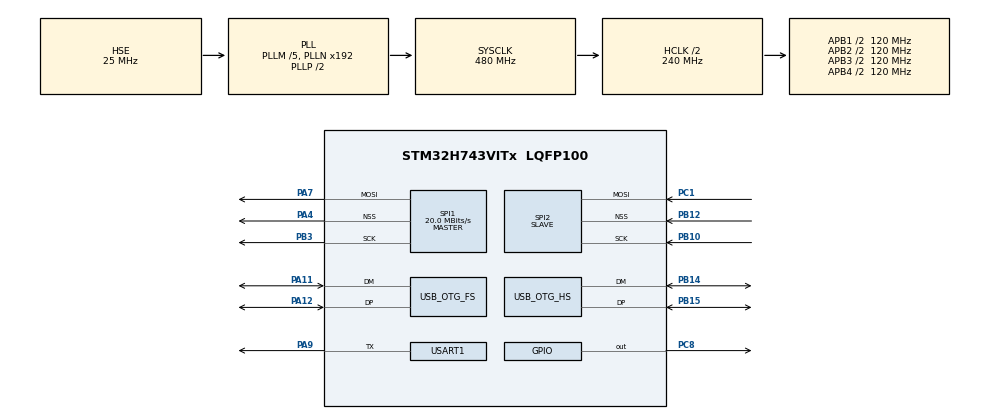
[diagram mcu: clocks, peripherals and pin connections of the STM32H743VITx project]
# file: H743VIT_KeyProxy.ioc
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CORTEX_M7.CPU_ICache=Enabled
CORTEX_M7.default_mode_Activation=0
Dma.Request0=SPI1_TX
Dma.Request1=SPI2_RX
Dma.SPI1_TX.0.Direction=DMA_MEMORY_TO_PERIPH
Dma.SPI1_TX.0.EventEnable=DISABLE
Dma.SPI1_TX.0.FIFOMode=DMA_FIFOMODE_DISABLE
Dma.SPI1_TX.0.Instance=DMA1_Stream0
Dma.SPI1_TX.0.MemDataAlignment=DMA_MDATAALIGN_BYTE
Dma.SPI1_TX.0.MemInc=DMA_MINC_ENABLE
Dma.SPI1_TX.0.Mode=DMA_NORMAL
Dma.SPI1_TX.0.PeriphDataAlignment=DMA_PDATAALIGN_BYTE
Dma.SPI1_TX.0.PeriphInc=DMA_PINC_DISABLE
Dma.SPI1_TX.0.Polarity=HAL_DMAMUX_REQ_GEN_RISING
Dma.SPI1_TX.0.Priority=DMA_PRIORITY_LOW
Dma.SPI1_TX.0.RequestNumber=1
Dma.SPI1_TX.0.SignalID=NONE
Dma.SPI1_TX.0.SyncEnable=DISABLE
Dma.SPI1_TX.0.SyncPolarity=HAL_DMAMUX_SYNC_NO_EVENT
Dma.SPI1_TX.0.SyncRequestNumber=1
Dma.SPI1_TX.0.SyncSignalID=NONE
Dma.SPI2_RX.1.Direction=DMA_PERIPH_TO_MEMORY
Dma.SPI2_RX.1.EventEnable=DISABLE
Dma.SPI2_RX.1.FIFOMode=DMA_FIFOMODE_DISABLE
Dma.SPI2_RX.1.Instance=DMA1_Stream1
Dma.SPI2_RX.1.MemDataAlignment=DMA_MDATAALIGN_BYTE
Dma.SPI2_RX.1.MemInc=DMA_MINC_ENABLE
Dma.SPI2_RX.1.Mode=DMA_NORMAL
Dma.SPI2_RX.1.PeriphDataAlignment=DMA_PDATAALIGN_BYTE
Dma.SPI2_RX.1.PeriphInc=DMA_PINC_DISABLE
Dma.SPI2_RX.1.Polarity=HAL_DMAMUX_REQ_GEN_RISING
Dma.SPI2_RX.1.Priority=DMA_PRIORITY_LOW
Dma.SPI2_RX.1.RequestNumber=1
Dma.SPI2_RX.1.SignalID=NONE
Dma.SPI2_RX.1.SyncEnable=DISABLE
Dma.SPI2_RX.1.SyncPolarity=HAL_DMAMUX_SYNC_NO_EVENT
Dma.SPI2_RX.1.SyncRequestNumber=1
Dma.SPI2_RX.1.SyncSignalID=NONE
Mcu.Family=STM32H7
Mcu.Name=STM32H743VITx
Mcu.Package=LQFP100
NVIC.DMA1_Stream0_IRQn=true\:0\:0\:false\:false\:true\:false\:true\:true
NVIC.DMA1_Stream1_IRQn=true\:0\:0\:false\:false\:true\:false\:true\:true
NVIC.OTG_FS_IRQn=true\:0\:0\:false\:false\:true\:false\:true\:true
NVIC.OTG_HS_IRQn=true\:0\:0\:false\:false\:true\:true\:true\:true
NVIC.PriorityGroup=NVIC_PRIORITYGROUP_4
NVIC.SPI1_IRQn=true\:0\:0\:false\:false\:true\:true\:true\:true
NVIC.SPI2_IRQn=true\:0\:0\:false\:false\:true\:true\:true\:true
PA11.Mode=Device_Only
PA11.Signal=USB_OTG_FS_DM
PA12.Mode=Device_Only
PA12.Signal=USB_OTG_FS_DP
PA4.GPIO_Speed=GPIO_SPEED_FREQ_VERY_HIGH
PA4.Mode=NSS_Signal_Hard_Output
PA4.Signal=SPI1_NSS
PA7.GPIO_Speed=GPIO_SPEED_FREQ_VERY_HIGH
PA7.Mode=TX_Only_Simplex_Unidirect_Master
PA7.Signal=SPI1_MOSI
PA9.Mode=Half_duplex(single_wire_mode)
PA9.Signal=USART1_TX
PB10.GPIO_Speed=GPIO_SPEED_FREQ_VERY_HIGH
PB10.Mode=RX_Only_Simplex_Unidirect_Slave
PB10.Signal=SPI2_SCK
PB12.GPIO_Speed=GPIO_SPEED_FREQ_VERY_HIGH
PB12.Mode=NSS_Signal_Hard_Input
PB12.Signal=SPI2_NSS
PB14.GPIO_Speed=GPIO_SPEED_FREQ_VERY_HIGH
PB14.Mode=Host_FS
PB14.Signal=USB_OTG_HS_DM
PB15.GPIO_Speed=GPIO_SPEED_FREQ_VERY_HIGH
PB15.Mode=Host_FS
PB15.Signal=USB_OTG_HS_DP
PB3\ (JTDO/TRACESWO).GPIO_Speed=GPIO_SPEED_FREQ_VERY_HIGH
PB3\ (JTDO/TRACESWO).Mode=TX_Only_Simplex_Unidirect_Master
PB3\ (JTDO/TRACESWO).Signal=SPI1_SCK
PC1.GPIO_Speed=GPIO_SPEED_FREQ_VERY_HIGH
PC1.Mode=RX_Only_Simplex_Unidirect_Slave
PC1.Signal=SPI2_MOSI
PC8.PinState=GPIO_PIN_SET
PC8.Signal=GPIO_Output
PH0-OSC_IN\ (PH0).Mode=HSE-External-Oscillator
PH0-OSC_IN\ (PH0).Signal=RCC_OSC_IN
PH1-OSC_OUT\ (PH1).Mode=HSE-External-Oscillator
PH1-OSC_OUT\ (PH1).Signal=RCC_OSC_OUT
ProjectManager.HeapSize=0x800
ProjectManager.StackSize=0xB00
ProjectManager.TargetToolchain=STM32CubeIDE
RCC.ADCFreq_Value=50390625
RCC.APB1Freq_Value=120000000
RCC.APB2Freq_Value=120000000
RCC.APB3Freq_Value=120000000
RCC.APB4Freq_Value=120000000
RCC.CortexFreq_Value=480000000
RCC.D1PPRE=RCC_APB3_DIV2
RCC.D2PPRE1=RCC_APB1_DIV2
RCC.D2PPRE2=RCC_APB2_DIV2
RCC.D3PPRE=RCC_APB4_DIV2
RCC.DIVM1=5
RCC.DIVM3=5
RCC.DIVN1=192
RCC.DIVN3=96
RCC.DIVP3=10
RCC.DIVQ1=12
RCC.DIVQ3=10
RCC.HCLKFreq_Value=240000000
RCC.HPRE=RCC_HCLK_DIV2
RCC.PLLSourceVirtual=RCC_PLLSOURCE_HSE
RCC.SYSCLKFreq_VALUE=480000000
RCC.SYSCLKSource=RCC_SYSCLKSOURCE_PLLCLK
RCC.USBCLockSelection=RCC_USBCLKSOURCE_PLL3
RCC.USBFreq_Value=48000000
SPI1.BaudRatePrescaler=SPI_BAUDRATEPRESCALER_4
SPI1.CalculateBaudRate=20.0 MBits/s
SPI1.DataSize=SPI_DATASIZE_8BIT
SPI1.Direction=SPI_DIRECTION_2LINES_TXONLY
SPI1.FifoThreshold=SPI_FIFO_THRESHOLD_01DATA
SPI1.Mode=SPI_MODE_MASTER
SPI1.TIMode=SPI_TIMODE_DISABLE
SPI1.VirtualNSS=VM_NSSHARD
SPI1.VirtualType=VM_MASTER
SPI2.DataSize=SPI_DATASIZE_8BIT
SPI2.Direction=SPI_DIRECTION_2LINES_RXONLY
SPI2.FifoThreshold=SPI_FIFO_THRESHOLD_01DATA
SPI2.Mode=SPI_MODE_SLAVE
SPI2.TIMode=SPI_TIMODE_DISABLE
SPI2.VirtualNSS=VM_NSSHARD
SPI2.VirtualType=VM_SLAVE
USART1.Mode=MODE_TX
USART1.VirtualMode-Half_duplex(single_wire_mode)=VM_ASYNC
USB_DEVICE.CLASS_NAME_FS=CUSTOM_HID
USB_DEVICE.MANUFACTURER_STRING-CUSTOM_HID_FS=Lenovo
USB_DEVICE.PRODUCT_STRING_CUSTOMHID_FS=Lenovo CMKeypad
USB_DEVICE.USBD_CUSTOMHID_OUTREPORT_BUF_SIZE-CUSTOM_HID_FS=64
USB_DEVICE.USBD_DEBUG_LEVEL-CUSTOM_HID_FS=3
USB_DEVICE.USBD_MAX_NUM_INTERFACES-CUSTOM_HID_FS=3
USB_DEVICE.VirtualMode-CUSTOM_HID_FS=CustomHid
USB_DEVICE.VirtualModeFS=Custom_Hid_FS
USB_HOST.ALL_SW_VBUS_DRIVE_HS=true
USB_HOST.USBH_DEBUG_LEVEL-ALL_Classes_HS=3
USB_HOST.USBH_HandleTypeDef-ALL_Classes_HS=hUsbHostHS
USB_HOST.USBH_MAX_DATA_BUFFER-ALL_Classes_HS=32768
USB_HOST.VirtualModeHS=All_Classes
USB_OTG_FS.VirtualMode=Device_Only
USB_OTG_HS.VirtualMode-Host_FS=Host_FS
VP_MEMORYMAP_VS_MEMORYMAP.Mode=CurAppReg
VP_RNG_VS_RNG.Mode=RNG_Activate
VP_USB_DEVICE_VS_USB_DEVICE_CUSTOM_HID_FS.Mode=CUSTOM_HID_FS
VP_USB_HOST_VS_USB_HOST_ALL_CLASS_HS.Mode=ALL_Classes_HS
board=custom

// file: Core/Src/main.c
/* USER CODE BEGIN Header */
/**
  ******************************************************************************
  * @file           : main.c
  * @brief          : Main program body
  ******************************************************************************
  * @attention
  *
  * Copyright (c) 2025 STMicroelectronics.
  * All rights reserved.
  *
  * This software is licensed under terms that can be found in the LICENSE file
  * in the root directory of this software component.
  * If no LICENSE file comes with this software, it is provided AS-IS.
  *
  ******************************************************************************
  */
/* USER CODE END Header */
#include "main.h"
#include "usb_device.h"
#include "usb_host.h"

/* USER CODE BEGIN Includes */
#include "custom/inner_main.h"
/* USER CODE END Includes */

RNG_HandleTypeDef hrng;

SPI_HandleTypeDef hspi1;
SPI_HandleTypeDef hspi2;
DMA_HandleTypeDef hdma_spi1_tx;
DMA_HandleTypeDef hdma_spi2_rx;

UART_HandleTypeDef huart1;

void SystemClock_Config(void);
void PeriphCommonClock_Config(void);
static void MX_GPIO_Init(void);
static void MX_DMA_Init(void);
static void MX_USART1_UART_Init(void);
static void MX_SPI1_Init(void);
static void MX_SPI2_Init(void);
static void MX_RNG_Init(void);
void MX_USB_HOST_Process(void);

/* USER CODE BEGIN 0 */
uint8_t printBuff[1024];
uint32_t printLen = 0;

#ifdef __GNUC__
#define PUTCHAR_PROTOTYPE int __io_putchar(int ch)
#else
#define PUTCHAR_PROTOTYPE int fputc(int ch, FILE *f)
#endif
void mflush() {
	HAL_UART_Transmit(&huart1 , (uint8_t *)printBuff, printLen, 0xFFFF);
	printLen = 0;
}

PUTCHAR_PROTOTYPE
{
	printBuff[printLen++] = ch;
	if (ch == '\n' || printLen >= 20) mflush();
	return ch;
}

/* USER CODE END 0 */

int main(void)
{

  /* USER CODE BEGIN 1 */
	SCB_EnableICache();
	HAL_MPU_Disable();
  /* USER CODE END 1 */

  /* Enable the CPU Cache */

  /* Enable I-Cache---------------------------------------------------------*/
  SCB_EnableICache();

  /* MCU Configuration--------------------------------------------------------*/

  /* Reset of all peripherals, Initializes the Flash interface and the Systick. */
  HAL_Init();

  /* Configure the system clock */
  SystemClock_Config();

  /* Configure the peripherals common clocks */
  PeriphCommonClock_Config();

  /* Initialize all configured peripherals */
  MX_GPIO_Init();
  MX_DMA_Init();
  MX_USART1_UART_Init();
  MX_SPI1_Init();
  MX_SPI2_Init();
  MX_RNG_Init();
  MX_USB_HOST_Init();
  MX_USB_DEVICE_Init();

  /* Infinite loop */
  /* USER CODE BEGIN WHILE */
  myMain();

  while (1)
  {
    /* USER CODE END WHILE */
    MX_USB_HOST_Process();

  }
}

void SystemClock_Config(void)
{
  RCC_OscInitTypeDef RCC_OscInitStruct = {0};
  RCC_ClkInitTypeDef RCC_ClkInitStruct = {0};

  /** Supply configuration update enable
  */
  HAL_PWREx_ConfigSupply(PWR_LDO_SUPPLY);

  /** Configure the main internal regulator output voltage
  */
  __HAL_PWR_VOLTAGESCALING_CONFIG(PWR_REGULATOR_VOLTAGE_SCALE0);

  while(!__HAL_PWR_GET_FLAG(PWR_FLAG_VOSRDY)) {}

  /** Initializes the RCC Oscillators according to the specified parameters
  * in the RCC_OscInitTypeDef structure.
  */
  RCC_OscInitStruct.OscillatorType = RCC_OSCILLATORTYPE_HSI48|RCC_OSCILLATORTYPE_HSE;
  RCC_OscInitStruct.HSEState = RCC_HSE_ON;
  RCC_OscInitStruct.HSI48State = RCC_HSI48_ON;
  RCC_OscInitStruct.PLL.PLLState = RCC_PLL_ON;
  RCC_OscInitStruct.PLL.PLLSource = RCC_PLLSOURCE_HSE;
  RCC_OscInitStruct.PLL.PLLM = 5;
  RCC_OscInitStruct.PLL.PLLN = 192;
  RCC_OscInitStruct.PLL.PLLP = 2;
  RCC_OscInitStruct.PLL.PLLQ = 12;
  RCC_OscInitStruct.PLL.PLLR = 2;
  RCC_OscInitStruct.PLL.PLLRGE = RCC_PLL1VCIRANGE_2;
  RCC_OscInitStruct.PLL.PLLVCOSEL = RCC_PLL1VCOWIDE;
  RCC_OscInitStruct.PLL.PLLFRACN = 0;
  if (HAL_RCC_OscConfig(&RCC_OscInitStruct) != HAL_OK)
  {
    Error_Handler();
  }

  /** Initializes the CPU, AHB and APB buses clocks
  */
  RCC_ClkInitStruct.ClockType = RCC_CLOCKTYPE_HCLK|RCC_CLOCKTYPE_SYSCLK
                              |RCC_CLOCKTYPE_PCLK1|RCC_CLOCKTYPE_PCLK2
                              |RCC_CLOCKTYPE_D3PCLK1|RCC_CLOCKTYPE_D1PCLK1;
  RCC_ClkInitStruct.SYSCLKSource = RCC_SYSCLKSOURCE_PLLCLK;
  RCC_ClkInitStruct.SYSCLKDivider = RCC_SYSCLK_DIV1;
  RCC_ClkInitStruct.AHBCLKDivider = RCC_HCLK_DIV2;
  RCC_ClkInitStruct.APB3CLKDivider = RCC_APB3_DIV2;
  RCC_ClkInitStruct.APB1CLKDivider = RCC_APB1_DIV2;
  RCC_ClkInitStruct.APB2CLKDivider = RCC_APB2_DIV2;
  RCC_ClkInitStruct.APB4CLKDivider = RCC_APB4_DIV2;

  if (HAL_RCC_ClockConfig(&RCC_ClkInitStruct, FLASH_LATENCY_4) != HAL_OK)
  {
    Error_Handler();
  }
}

void PeriphCommonClock_Config(void)
{
  RCC_PeriphCLKInitTypeDef PeriphClkInitStruct = {0};

  /** Initializes the peripherals clock
  */
  PeriphClkInitStruct.PeriphClockSelection = RCC_PERIPHCLK_USB;
  PeriphClkInitStruct.PLL3.PLL3M = 5;
  PeriphClkInitStruct.PLL3.PLL3N = 96;
  PeriphClkInitStruct.PLL3.PLL3P = 10;
  PeriphClkInitStruct.PLL3.PLL3Q = 10;
  PeriphClkInitStruct.PLL3.PLL3R = 2;
  PeriphClkInitStruct.PLL3.PLL3RGE = RCC_PLL3VCIRANGE_2;
  PeriphClkInitStruct.PLL3.PLL3VCOSEL = RCC_PLL3VCOWIDE;
  PeriphClkInitStruct.PLL3.PLL3FRACN = 0;
  PeriphClkInitStruct.UsbClockSelection = RCC_USBCLKSOURCE_PLL3;
  if (HAL_RCCEx_PeriphCLKConfig(&PeriphClkInitStruct) != HAL_OK)
  {
    Error_Handler();
  }
}

static void MX_RNG_Init(void)
{

  hrng.Instance = RNG;
  hrng.Init.ClockErrorDetection = RNG_CED_ENABLE;
  if (HAL_RNG_Init(&hrng) != HAL_OK)
  {
    Error_Handler();
  }

}

static void MX_SPI1_Init(void)
{

  /* SPI1 parameter configuration*/
  hspi1.Instance = SPI1;
  hspi1.Init.Mode = SPI_MODE_MASTER;
  hspi1.Init.Direction = SPI_DIRECTION_2LINES_TXONLY;
  hspi1.Init.DataSize = SPI_DATASIZE_8BIT;
  hspi1.Init.CLKPolarity = SPI_POLARITY_LOW;
  hspi1.Init.CLKPhase = SPI_PHASE_1EDGE;
  hspi1.Init.NSS = SPI_NSS_HARD_OUTPUT;
  hspi1.Init.BaudRatePrescaler = SPI_BAUDRATEPRESCALER_4;
  hspi1.Init.FirstBit = SPI_FIRSTBIT_MSB;
  hspi1.Init.TIMode = SPI_TIMODE_DISABLE;
  hspi1.Init.CRCCalculation = SPI_CRCCALCULATION_DISABLE;
  hspi1.Init.CRCPolynomial = 0x0;
  hspi1.Init.NSSPMode = SPI_NSS_PULSE_ENABLE;
  hspi1.Init.NSSPolarity = SPI_NSS_POLARITY_LOW;
  hspi1.Init.FifoThreshold = SPI_FIFO_THRESHOLD_01DATA;
  hspi1.Init.TxCRCInitializationPattern = SPI_CRC_INITIALIZATION_ALL_ZERO_PATTERN;
  hspi1.Init.RxCRCInitializationPattern = SPI_CRC_INITIALIZATION_ALL_ZERO_PATTERN;
  hspi1.Init.MasterSSIdleness = SPI_MASTER_SS_IDLENESS_00CYCLE;
  hspi1.Init.MasterInterDataIdleness = SPI_MASTER_INTERDATA_IDLENESS_00CYCLE;
  hspi1.Init.MasterReceiverAutoSusp = SPI_MASTER_RX_AUTOSUSP_DISABLE;
  hspi1.Init.MasterKeepIOState = SPI_MASTER_KEEP_IO_STATE_DISABLE;
  hspi1.Init.IOSwap = SPI_IO_SWAP_DISABLE;
  if (HAL_SPI_Init(&hspi1) != HAL_OK)
  {
    Error_Handler();
  }

}

static void MX_SPI2_Init(void)
{

  /* SPI2 parameter configuration*/
  hspi2.Instance = SPI2;
  hspi2.Init.Mode = SPI_MODE_SLAVE;
  hspi2.Init.Direction = SPI_DIRECTION_2LINES_RXONLY;
  hspi2.Init.DataSize = SPI_DATASIZE_8BIT;
  hspi2.Init.CLKPolarity = SPI_POLARITY_LOW;
  hspi2.Init.CLKPhase = SPI_PHASE_1EDGE;
  hspi2.Init.NSS = SPI_NSS_HARD_INPUT;
  hspi2.Init.FirstBit = SPI_FIRSTBIT_MSB;
  hspi2.Init.TIMode = SPI_TIMODE_DISABLE;
  hspi2.Init.CRCCalculation = SPI_CRCCALCULATION_DISABLE;
  hspi2.Init.CRCPolynomial = 0x0;
  hspi2.Init.NSSPMode = SPI_NSS_PULSE_DISABLE;
  hspi2.Init.NSSPolarity = SPI_NSS_POLARITY_LOW;
  hspi2.Init.FifoThreshold = SPI_FIFO_THRESHOLD_01DATA;
  hspi2.Init.TxCRCInitializationPattern = SPI_CRC_INITIALIZATION_ALL_ZERO_PATTERN;
  hspi2.Init.RxCRCInitializationPattern = SPI_CRC_INITIALIZATION_ALL_ZERO_PATTERN;
  hspi2.Init.MasterSSIdleness = SPI_MASTER_SS_IDLENESS_00CYCLE;
  hspi2.Init.MasterInterDataIdleness = SPI_MASTER_INTERDATA_IDLENESS_00CYCLE;
  hspi2.Init.MasterReceiverAutoSusp = SPI_MASTER_RX_AUTOSUSP_DISABLE;
  hspi2.Init.MasterKeepIOState = SPI_MASTER_KEEP_IO_STATE_DISABLE;
  hspi2.Init.IOSwap = SPI_IO_SWAP_DISABLE;
  if (HAL_SPI_Init(&hspi2) != HAL_OK)
  {
    Error_Handler();
  }

}

static void MX_USART1_UART_Init(void)
{

  huart1.Instance = USART1;
  huart1.Init.BaudRate = 115200;
  huart1.Init.WordLength = UART_WORDLENGTH_8B;
  huart1.Init.StopBits = UART_STOPBITS_1;
  huart1.Init.Parity = UART_PARITY_NONE;
  huart1.Init.Mode = UART_MODE_TX;
  huart1.Init.HwFlowCtl = UART_HWCONTROL_NONE;
  huart1.Init.OverSampling = UART_OVERSAMPLING_16;
  huart1.Init.OneBitSampling = UART_ONE_BIT_SAMPLE_DISABLE;
  huart1.Init.ClockPrescaler = UART_PRESCALER_DIV1;
  huart1.AdvancedInit.AdvFeatureInit = UART_ADVFEATURE_NO_INIT;
  if (HAL_HalfDuplex_Init(&huart1) != HAL_OK)
  {
    Error_Handler();
  }
  if (HAL_UARTEx_SetTxFifoThreshold(&huart1, UART_TXFIFO_THRESHOLD_1_8) != HAL_OK)
  {
    Error_Handler();
  }
  if (HAL_UARTEx_SetRxFifoThreshold(&huart1, UART_RXFIFO_THRESHOLD_1_8) != HAL_OK)
  {
    Error_Handler();
  }
  if (HAL_UARTEx_DisableFifoMode(&huart1) != HAL_OK)
  {
    Error_Handler();
  }

}

static void MX_DMA_Init(void)
{

  /* DMA controller clock enable */
  __HAL_RCC_DMA1_CLK_ENABLE();

  /* DMA interrupt init */
  /* DMA1_Stream0_IRQn interrupt configuration */
  HAL_NVIC_SetPriority(DMA1_Stream0_IRQn, 0, 0);
  HAL_NVIC_EnableIRQ(DMA1_Stream0_IRQn);
  /* DMA1_Stream1_IRQn interrupt configuration */
  HAL_NVIC_SetPriority(DMA1_Stream1_IRQn, 0, 0);
  HAL_NVIC_EnableIRQ(DMA1_Stream1_IRQn);

}

static void MX_GPIO_Init(void)
{
  GPIO_InitTypeDef GPIO_InitStruct = {0};

  /* GPIO Ports Clock Enable */
  __HAL_RCC_GPIOH_CLK_ENABLE();
  __HAL_RCC_GPIOC_CLK_ENABLE();
  __HAL_RCC_GPIOA_CLK_ENABLE();
  __HAL_RCC_GPIOB_CLK_ENABLE();

  /*Configure GPIO pin Output Level */
  HAL_GPIO_WritePin(GPIOC, GPIO_PIN_8, GPIO_PIN_SET);

  /*Configure GPIO pin : PC8 */
  GPIO_InitStruct.Pin = GPIO_PIN_8;
  GPIO_InitStruct.Mode = GPIO_MODE_OUTPUT_PP;
  GPIO_InitStruct.Pull = GPIO_NOPULL;
  GPIO_InitStruct.Speed = GPIO_SPEED_FREQ_LOW;
  HAL_GPIO_Init(GPIOC, &GPIO_InitStruct);

}

void Error_Handler(void)
{
  /* USER CODE BEGIN Error_Handler_Debug */
  /* User can add his own implementation to report the HAL error return state */
  __disable_irq();
  // 用于从机触发主机
  HAL_GPIO_WritePin(GPIOA, GPIO_PIN_10, GPIO_PIN_RESET);
  uint32_t delayCount = 0;
  while (1)
  {
	  volatile uint32_t ticks = 10000000;
	  while (ticks--) {
		  __NOP();
	  };
	  HAL_GPIO_TogglePin(GPIOC, GPIO_PIN_8);
	  delayCount++;

	  if (delayCount >= 100) {
		// 100 计数约 8 秒
		// PC0 输出低电平，复位重启
		GPIO_InitTypeDef GPIO_InitStruct = {0};
		GPIO_InitStruct.Pin = GPIO_PIN_0;
		GPIO_InitStruct.Mode = GPIO_MODE_OUTPUT_PP;
		GPIO_InitStruct.Pull = GPIO_NOPULL;
		GPIO_InitStruct.Speed = GPIO_SPEED_FREQ_LOW;
		HAL_GPIO_Init(GPIOC, &GPIO_InitStruct);
		HAL_GPIO_WritePin(GPIOC, GPIO_PIN_0, GPIO_PIN_RESET);
	  }

  }
  /* USER CODE END Error_Handler_Debug */
}
